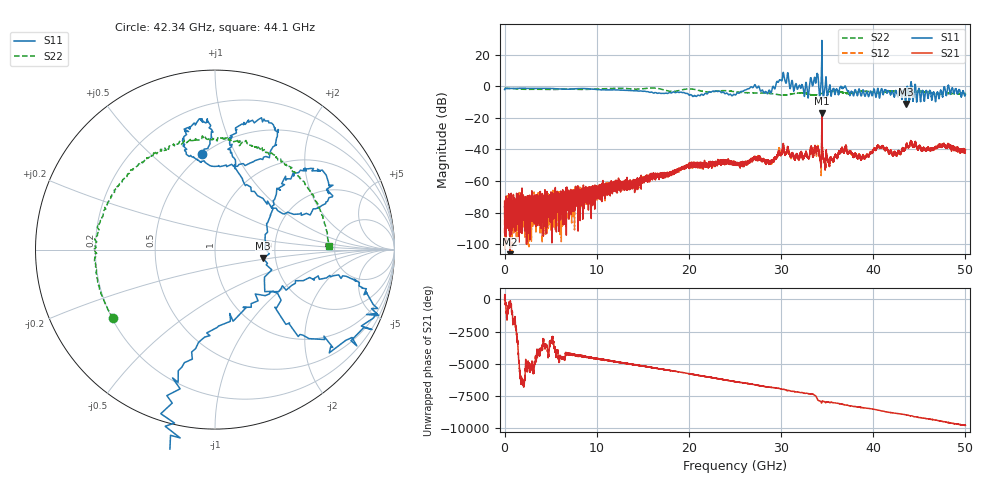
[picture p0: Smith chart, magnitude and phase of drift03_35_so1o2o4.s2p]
!Created with skrf (http://scikit-rf.org).
# Hz S RI R 50.0
!freq ReS11 ImS11 ReS21 ImS21 ReS12 ImS12 ReS22 ImS22
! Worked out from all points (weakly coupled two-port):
!   10000 points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, 5.3 MHz to 50 GHz, reference 50 ohm
!   highest |S21| = -17.09 dB at 34.43 GHz (marker M1); lowest = -106.3 dB at 590.3 MHz (marker M2)
!   lowest |S11| = -11.3 dB at 43.53 GHz (marker M3), VSWR 1.75, Z = 86 - j9.2 ohm
!   |S11| at or under -10 dB: 43.49315 GHz to 43.54253 GHz (49.38 MHz wide, 0.113 % of centre); 43.54984 GHz to 43.55037 GHz (524.4 kHz wide, 0.0012 % of centre); 44.7093 GHz to 44.71063 GHz (1.33 MHz wide, 0.00297 % of centre)
!   |S22| runs from -5.8 to -1.1 dB; largest |S21 - S12| = 0.039
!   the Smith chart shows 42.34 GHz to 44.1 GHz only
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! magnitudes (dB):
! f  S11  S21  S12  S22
! 5.3 MHz  -2.1  -72.7  -93.1  -1.3
! 590.3 MHz  -1.4  -106.3  -71.0  -1.4
! 3.925 GHz  -1.4  -75.9  -85.4  -2.0
! 8.34 GHz  -1.5  -70.7  -67.7  -2.1
! 16.67 GHz  -4.4  -55.9  -55.9  -1.5
! 20.31 GHz  -5.7  -49.7  -49.9  -1.8
! 25.01 GHz  -5.5  -49.5  -49.0  -3.5
! 27.02 GHz  -0.3  -46.1  -45.9  -4.3
! 28.72 GHz  -2.5  -47.6  -48.5  -4.5
! 30.14 GHz  4.4  -40.6  -40.3  -5.8
! 32.74 GHz  2.0  -42.2  -42.0  -4.6
! 33.34 GHz  2.6  -40.0  -40.1  -5.6
! 33.82 GHz  4.0  -41.2  -42.5  -5.7
! 34.43 GHz  28.9  -17.1  -18.4  -4.6
! 35.32 GHz  0.7  -46.9  -46.3  -3.4
! 36.85 GHz  -0.6  -42.0  -41.7  -4.3
! 38.85 GHz  -2.8  -44.0  -43.7  -3.2
! 40.58 GHz  -3.3  -37.6  -38.0  -4.1
! 41.67 GHz  -3.1  -41.9  -42.2  -3.3
! 43.53 GHz  -11.3  -38.6  -38.9  -4.1
! 48.32 GHz  -4.6  -37.7  -38.7  -4.6
! 50 GHz  -5.2  -40.3  -41.1  -4.5
